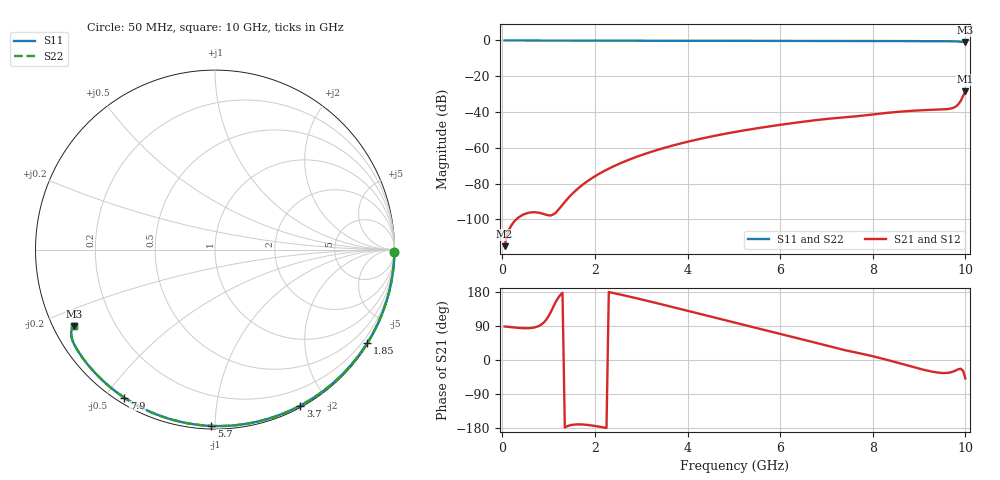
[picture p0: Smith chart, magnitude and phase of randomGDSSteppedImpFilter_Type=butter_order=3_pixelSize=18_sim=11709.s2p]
! freq	dB(S11)	phase(S11)	dB(S12)	phase(S12)
!  dB(S21)	phase(S21)	dB(S22)	phase(S22)
!S-par simulation data
#  GHz  S  DB  R 50
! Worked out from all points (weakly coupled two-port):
!   200 points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, 50 MHz to 10 GHz, reference 50 ohm
!   highest |S21| = -28.38 dB at 10 GHz (marker M1); lowest = -115.0 dB at 50 MHz (marker M2)
!   lowest |S11| = -1.0 dB at 10 GHz (marker M3), VSWR 17.82, Z = 2.99 - j12.7 ohm
!   |S11| at or under -10 dB: nowhere
!   |S22| runs from -1.0 to 0.0 dB; largest |S21 - S12| = 0
!   S11 on the Smith chart (normalised r, x): 50 MHz: open; 1.85 GHz: 0.03, -3.55; 3.7 GHz: 0.02, -1.69; 5.7 GHz: 0.02, -0.98; 7.9 GHz: 0.02, -0.56; 10 GHz: 0.06, -0.25
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0.05  -0.00 -0.9  -114.96 88.4  -114.96 88.4  -0.00 -0.9
0.9  -0.02 -15.5  -97.03 99.3  -97.03 99.3  -0.02 -15.5
1.75  -0.04 -29.8  -80.32 -170.3  -80.32 -170.3  -0.04 -29.8
1.85  -0.04 -31.5  -78.44 -171.5  -78.44 -171.5  -0.04 -31.5
2.15  -0.05 -36.5  -73.66 -177.2  -73.66 -177.2  -0.05 -36.5
2.5  -0.05 -42.2  -69.20 174.1  -69.20 174.1  -0.05 -42.2
2.9  -0.06 -48.7  -65.03 162.9  -65.03 162.9  -0.06 -48.7
3.4  -0.08 -56.7  -60.77 148.1  -60.77 148.1  -0.08 -56.7
3.7  -0.08 -61.3  -58.58 139.1  -58.58 139.1  -0.08 -61.3
4.35  -0.10 -71.3  -54.55 119.1  -54.55 119.1  -0.10 -71.3
5.05  -0.13 -81.8  -51.02 97.7  -51.02 97.7  -0.13 -81.8
5.7  -0.15 -91.2  -48.28 78.0  -48.28 78.0  -0.15 -91.2
6.7  -0.20 -105.2  -44.76 47.6  -44.76 47.6  -0.20 -105.2
7.9  -0.29 -121.5  -41.65 12.8  -41.65 12.8  -0.29 -121.5
8.35  -0.33 -127.6  -40.37 -1.1  -40.37 -1.1  -0.33 -127.6
9.15  -0.40 -138.4  -38.90 -27.3  -38.90 -27.3  -0.40 -138.4
9.55  -0.45 -144.1  -38.50 -34.4  -38.50 -34.4  -0.45 -144.1
9.7  -0.50 -146.5  -37.95 -31.9  -37.95 -31.9  -0.50 -146.5
9.8  -0.55 -148.2  -36.80 -27.1  -36.80 -27.1  -0.55 -148.2
9.85  -0.61 -149.2  -35.63 -24.3  -35.63 -24.3  -0.60 -149.2
9.9  -0.68 -150.1  -33.76 -23.2  -33.76 -23.2  -0.68 -150.1
10  -0.98 -151.5  -28.38 -48.5  -28.38 -48.5  -0.97 -151.5
